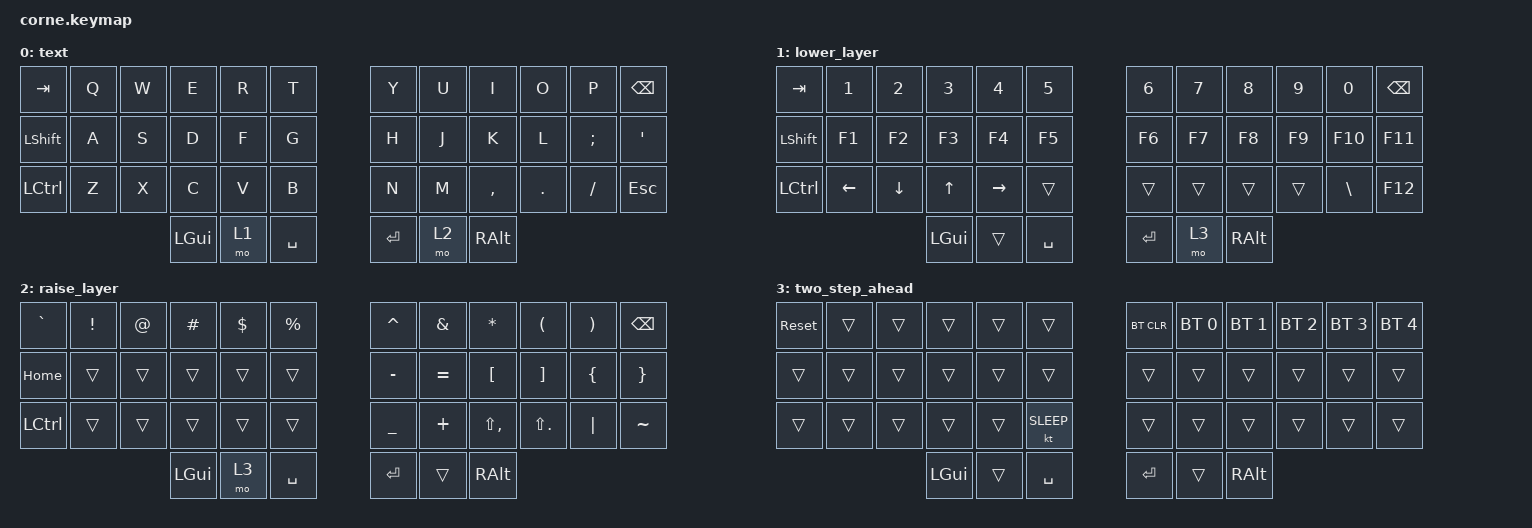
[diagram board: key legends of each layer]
/*
 * XUANTRUONG
 */

#include <behaviors.dtsi>
#include <dt-bindings/zmk/bt.h>
#include <dt-bindings/zmk/keys.h>

/ {
    keymap {
        compatible = "zmk,keymap";

        text {
            bindings = <
&kp TAB     &kp Q  &kp W  &kp E     &kp R  &kp T        &kp Y    &kp U  &kp I      &kp O    &kp P     &kp BSPC
&kp LSHIFT  &kp A  &kp S  &kp D     &kp F  &kp G        &kp H    &kp J  &kp K      &kp L    &kp SEMI  &kp SQT
&kp LCTRL   &kp Z  &kp X  &kp C     &kp V  &kp B        &kp N    &kp M  &kp COMMA  &kp DOT  &kp FSLH  &kp ESC
                          &kp LGUI  &mo 1  &kp SPACE    &kp RET  &mo 2  &kp RALT
            >;
        };

        lower_layer {
            bindings = <
&kp TAB     &kp N1    &kp N2    &kp N3    &kp N4     &kp N5       &kp N6   &kp N7  &kp N8    &kp N9  &kp N0    &kp BSPC
&kp LSHIFT  &kp F1    &kp F2    &kp F3    &kp F4     &kp F5       &kp F6   &kp F7  &kp F8    &kp F9  &kp F10   &kp F11
&kp LCTRL   &kp LEFT  &kp DOWN  &kp UP    &kp RIGHT  &trans       &trans   &trans  &trans    &trans  &kp BSLH  &kp F12
                                &kp LGUI  &trans     &kp SPACE    &kp RET  &mo 3   &kp RALT
            >;
        };

        raise_layer {
            bindings = <
&kp GRAVE  &kp EXCL  &kp AT  &kp HASH  &kp DLLR  &kp PRCNT    &kp CARET  &kp AMPS   &kp ASTRK      &kp LPAR     &kp RPAR  &kp BSPC
&kp HOME   &trans    &trans  &trans    &trans    &trans       &kp MINUS  &kp EQUAL  &kp LBKT       &kp RBKT     &kp LBRC  &kp RBRC
&kp LCTRL  &trans    &trans  &trans    &trans    &trans       &kp UNDER  &kp PLUS   &kp LS(COMMA)  &kp LS(DOT)  &kp PIPE  &kp TILDE
                             &kp LGUI  &mo 3     &kp SPACE    &kp RET    &trans     &kp RALT
            >;
        };

        two_step_ahead {
            bindings = <
&sys_reset  &trans  &trans  &trans    &trans  &trans         &bt BT_CLR  &bt BT_SEL 0  &bt BT_SEL 1  &bt BT_SEL 2  &bt BT_SEL 3  &bt BT_SEL 4
&trans      &trans  &trans  &trans    &trans  &trans         &trans      &trans        &trans        &trans        &trans        &trans
&trans      &trans  &trans  &trans    &trans  &kt K_SLEEP    &trans      &trans        &trans        &trans        &trans        &trans
                            &kp LGUI  &trans  &kp SPACE      &kp RET     &trans        &kp RALT
            >;
        };
    };
};
